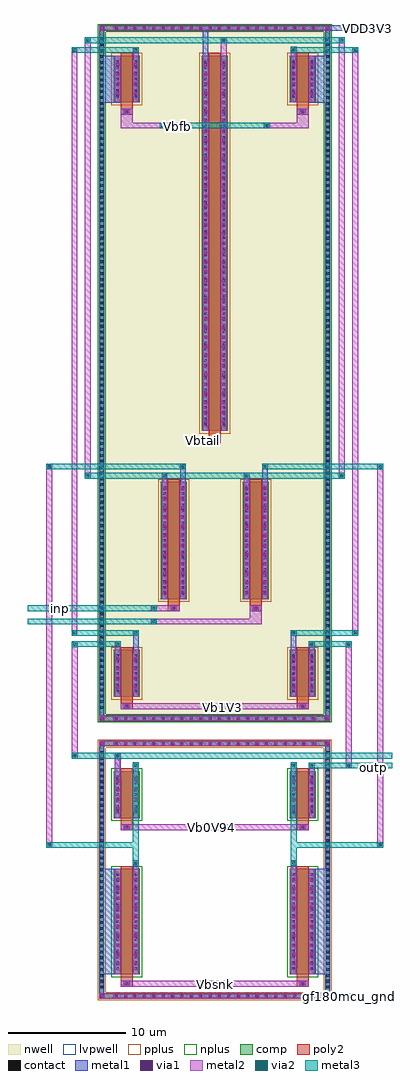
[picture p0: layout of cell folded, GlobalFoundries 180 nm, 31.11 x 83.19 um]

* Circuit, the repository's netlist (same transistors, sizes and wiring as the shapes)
** sch_path: /foss/designs/core_pga/folded_cascode/folded.sch
.subckt folded outp outn gf180mcu_gnd VDD3V3 inp inn Vb1V3 Vb0V94 Vcm Vbfb Vbsnk Vbtail
*.PININFO outp:O outn:O gf180mcu_gnd:B VDD3V3:B inp:I inn:I Vb1V3:B Vb0V94:B Vcm:B Vbfb:B Vbsnk:B Vbtail:B
M1 net3 inp net1 VDD3V3 pfet_03v3 L=1u W=10u nf=1
M2 net2 inn net1 VDD3V3 pfet_03v3 L=1u W=10u nf=1
M6 outn Vb0V94 net3 gf180mcu_gnd nfet_03v3 L=1u W=4u nf=4
M7 outp Vb0V94 net2 gf180mcu_gnd nfet_03v3 L=1u W=4u nf=4
M8 outn Vb1V3 net4 VDD3V3 pfet_03v3 L=1u W=4u nf=4
M9 outp Vb1V3 net5 VDD3V3 pfet_03v3 L=1u W=4u nf=4
M3 net1 Vbtail VDD3V3 VDD3V3 pfet_03v3 L=1u W=32u nf=1
M4 net3 Vbsnk gf180mcu_gnd gf180mcu_gnd nfet_03v3 L=1u W=9u nf=4
M5 net2 Vbsnk gf180mcu_gnd gf180mcu_gnd nfet_03v3 L=1u W=9u nf=4
M10 net4 Vbfb VDD3V3 VDD3V3 pfet_03v3 L=1u W=4u nf=4
M11 net5 Vbfb VDD3V3 VDD3V3 pfet_03v3 L=1u W=4u nf=4
.ends

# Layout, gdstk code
import gdstk
lib = gdstk.Library(unit=1e-6, precision=5e-09)
def R(c, l, rs):  # rectangles x0, y0, x1, y1
    for r in rs: c.add(gdstk.rectangle(r[:2], r[2:], *l))
def A(c, l, x, y, w, h, nx, ny, dx, dy):  # array of equal rectangles
    R(c, l, [(x+i*dx, y+j*dy, x+i*dx+w, y+j*dy+h) for i in range(nx) for j in range(ny)])
def P(c, l, *ps):  # polygons
    for p in ps: c.add(gdstk.Polygon(p, *l))
nwell = (21, 0)
comp = (22, 0)
poly2 = (30, 0)
pplus = (31, 0)
nplus = (32, 0)
contact = (33, 0)
metal1 = (34, 0)
via1 = (35, 0)
metal2 = (36, 0)
via2 = (38, 0)
metal3 = (42, 0)
lvpwell = (204, 0)

folded = lib.new_cell('folded')
R(folded, nwell, [(-9.97,-41.095,9.97,18.435), (-8.95,-40.075,-6.05,-33.245), (6.05,-40.075,8.95,-33.245), (-4.95,-31.745,-2.05,-18.915), (2.05,-31.745,4.95,-18.915), (-1.45,-17.415,1.45,17.415), (-8.95,10.585,-6.05,17.415), (6.05,10.585,8.95,17.415)])
A(folded, comp, -8.58, -64.595, 0.36, 0.36, 22, 2, 0.8, 21.52)
A(folded, comp, -9.81, -63.835, 0.36, 0.36, 1, 41, 0, 0.5)
A(folded, comp, 9.45, -63.835, 0.36, 0.36, 1, 41, 0, 0.5)
A(folded, comp, -8.58, -40.935, 0.36, 0.36, 22, 2, 0.8, 58.85)
A(folded, comp, -9.81, -40.01, 0.36, 0.36, 1, 115, 0, 0.5)
A(folded, comp, 9.45, -40.01, 0.36, 0.36, 1, 115, 0, 0.5)
R(folded, comp, [(-8.58,-64.595,8.58,-64.235), (-9.81,-63.835,-9.45,-43.475), (9.45,-63.835,9.81,-43.475), (-8.6,-62.575,-6.4,-53.575), (6.4,-62.575,8.6,-53.575), (-8.6,-49.245,-6.4,-45.245), (6.4,-49.245,8.6,-45.245), (-8.58,-43.075,8.58,-42.715), (-8.58,-40.935,8.58,-40.575), (-9.81,-40.01,-9.45,17.35), (9.45,-40.01,9.81,17.35), (-8.6,-38.915,-6.4,-34.915), (6.4,-38.915,8.6,-34.915), (-4.6,-30.585,-2.4,-20.585), (2.4,-30.585,4.6,-20.585), (-1.1,-16.255,1.1,15.745), (-8.6,11.745,-6.4,15.745), (6.4,11.745,8.6,15.745), (-8.58,17.915,8.58,18.275)])
P(folded, comp, [(-9.81,-64.595),(-9.81,-64.235),(-9.45,-64.235),(9.45,-64.235),(9.45,-43.075),(-9.45,-43.075),(-9.45,-64.235),(-9.81,-64.235),(-9.81,-42.715),(9.81,-42.715),(9.81,-64.595)],
  [(-9.81,-40.935),(-9.81,-40.575),(-9.45,-40.575),(9.45,-40.575),(9.45,17.915),(-9.45,17.915),(-9.45,-40.575),(-9.81,-40.575),(-9.81,18.275),(9.81,18.275),(9.81,-40.935)])
R(folded, poly2, [(-8,-63.615,-7,-63.115), (7,-63.615,8,-63.115), (-7.68,-63.545,-7.32,-63.185), (7.32,-63.545,7.68,-63.185), (-8,-63.115,-7,-62.815), (7,-63.115,8,-62.815), (-8,-62.815,-7,-53.335), (7,-62.815,8,-53.335), (-8,-50.285,-7,-49.785), (7,-50.285,8,-49.785), (-7.68,-50.215,-7.32,-49.855), (7.32,-50.215,7.68,-49.855), (-8,-49.785,-7,-49.485), (7,-49.785,8,-49.485), (-8,-49.485,-7,-45.005), (7,-49.485,8,-45.005), (-8,-39.955,-7,-39.455), (7,-39.955,8,-39.455), (-7.68,-39.885,-7.32,-39.525), (7.32,-39.885,7.68,-39.525), (-8,-39.455,-7,-39.155), (7,-39.455,8,-39.155), (-8,-39.155,-7,-34.675), (7,-39.155,8,-34.675), (-4,-31.625,-3,-31.125), (3,-31.625,4,-31.125), (-3.68,-31.555,-3.32,-31.195), (3.32,-31.555,3.68,-31.195), (-4,-31.125,-3,-30.825), (3,-31.125,4,-30.825), (-4,-30.825,-3,-20.345), (3,-30.825,4,-20.345), (-0.5,-17.295,0.5,-16.795), (-0.18,-17.225,0.18,-16.865), (-0.5,-16.795,0.5,-16.495), (-0.5,-16.495,0.5,15.985), (-8,10.705,-7,11.205), (7,10.705,8,11.205), (-7.68,10.775,-7.32,11.135), (7.32,10.775,7.68,11.135), (-8,11.205,-7,11.505), (7,11.205,8,11.505), (-8,11.505,-7,15.985), (7,11.505,8,15.985)])
R(folded, pplus, [(-8.83,-39.145,-6.17,-34.685), (6.17,-39.145,8.83,-34.685), (-4.83,-30.815,-2.17,-20.355), (2.17,-30.815,4.83,-20.355), (-1.33,-16.485,1.33,15.975), (-8.83,11.515,-6.17,15.975), (6.17,11.515,8.83,15.975)])
P(folded, pplus, [(-9.97,-64.755),(-9.97,-64.075),(-9.29,-64.075),(9.29,-64.075),(9.29,-43.235),(-9.29,-43.235),(-9.29,-64.075),(-9.97,-64.075),(-9.97,-42.555),(9.97,-42.555),(9.97,-64.755)])
R(folded, nplus, [(-8.83,-62.805,-6.17,-53.345), (6.17,-62.805,8.83,-53.345), (-8.83,-49.475,-6.17,-45.015), (6.17,-49.475,8.83,-45.015)])
P(folded, nplus, [(-9.97,-41.095),(-9.97,-40.415),(-9.29,-40.415),(9.29,-40.415),(9.29,17.755),(-9.29,17.755),(-9.29,-40.415),(-9.97,-40.415),(-9.97,18.435),(9.97,18.435),(9.97,-41.095)])
A(folded, contact, -8.51, -64.525, 0.22, 0.22, 22, 2, 0.8, 21.52)
A(folded, contact, -9.74, -63.765, 0.22, 0.22, 1, 41, 0, 0.5)
A(folded, contact, 9.52, -63.765, 0.22, 0.22, 1, 41, 0, 0.5)
A(folded, contact, -8.39, -62.185, 0.22, 0.22, 1, 17, 0, 0.5)
A(folded, contact, -6.83, -62.185, 0.22, 0.22, 1, 17, 0, 0.5)
A(folded, contact, 6.61, -62.185, 0.22, 0.22, 1, 17, 0, 0.5)
A(folded, contact, 8.17, -62.185, 0.22, 0.22, 1, 17, 0, 0.5)
A(folded, contact, -8.39, -48.855, 0.22, 0.22, 1, 7, 0, 0.5)
A(folded, contact, -6.83, -48.855, 0.22, 0.22, 1, 7, 0, 0.5)
A(folded, contact, 6.61, -48.855, 0.22, 0.22, 1, 7, 0, 0.5)
A(folded, contact, 8.17, -48.855, 0.22, 0.22, 1, 7, 0, 0.5)
A(folded, contact, -8.51, -40.865, 0.22, 0.22, 22, 2, 0.8, 58.85)
A(folded, contact, -9.74, -39.94, 0.22, 0.22, 1, 115, 0, 0.5)
A(folded, contact, 9.52, -39.94, 0.22, 0.22, 1, 115, 0, 0.5)
A(folded, contact, -8.39, -38.525, 0.22, 0.22, 1, 7, 0, 0.5)
A(folded, contact, -6.83, -38.525, 0.22, 0.22, 1, 7, 0, 0.5)
A(folded, contact, 6.61, -38.525, 0.22, 0.22, 1, 7, 0, 0.5)
A(folded, contact, 8.17, -38.525, 0.22, 0.22, 1, 7, 0, 0.5)
A(folded, contact, -4.39, -30.195, 0.22, 0.22, 1, 19, 0, 0.5)
A(folded, contact, -2.83, -30.195, 0.22, 0.22, 1, 19, 0, 0.5)
A(folded, contact, 2.61, -30.195, 0.22, 0.22, 1, 19, 0, 0.5)
A(folded, contact, 4.17, -30.195, 0.22, 0.22, 1, 19, 0, 0.5)
A(folded, contact, -0.89, -15.865, 0.22, 0.22, 1, 63, 0, 0.5)
A(folded, contact, 0.67, -15.865, 0.22, 0.22, 1, 63, 0, 0.5)
A(folded, contact, -8.39, 12.135, 0.22, 0.22, 1, 7, 0, 0.5)
A(folded, contact, -6.83, 12.135, 0.22, 0.22, 1, 7, 0, 0.5)
A(folded, contact, 6.61, 12.135, 0.22, 0.22, 1, 7, 0, 0.5)
A(folded, contact, 8.17, 12.135, 0.22, 0.22, 1, 7, 0, 0.5)
R(folded, contact, [(-7.61,-63.475,-7.39,-63.255), (7.39,-63.475,7.61,-63.255), (-7.61,-50.145,-7.39,-49.925), (7.39,-50.145,7.61,-49.925), (-7.61,-39.815,-7.39,-39.595), (7.39,-39.815,7.61,-39.595), (-3.61,-31.485,-3.39,-31.265), (3.39,-31.485,3.61,-31.265), (-0.11,-17.155,0.11,-16.935), (-7.61,10.845,-7.39,11.065), (7.39,10.845,7.61,11.065)])
A(folded, metal1, -8.65, -64.665, 0.5, 0.5, 22, 2, 0.8, 21.52)
A(folded, metal1, -9.86, -63.885, 0.46, 0.46, 1, 41, 0, 0.5)
A(folded, metal1, 9.4, -63.885, 0.46, 0.46, 1, 41, 0, 0.5)
A(folded, metal1, -8.51, -62.305, 0.46, 0.46, 1, 17, 0, 0.5)
A(folded, metal1, -6.95, -62.305, 0.46, 0.46, 1, 17, 0, 0.5)
A(folded, metal1, 6.49, -62.305, 0.46, 0.46, 1, 17, 0, 0.5)
A(folded, metal1, 8.05, -62.305, 0.46, 0.46, 1, 17, 0, 0.5)
A(folded, metal1, -8.53, -61.925, 0.5, 0.5, 1, 10, 0, 0.8)
A(folded, metal1, -6.97, -61.925, 0.5, 0.5, 1, 10, 0, 0.8)
A(folded, metal1, 6.47, -61.925, 0.5, 0.5, 1, 10, 0, 0.8)
A(folded, metal1, 8.03, -61.925, 0.5, 0.5, 1, 10, 0, 0.8)
A(folded, metal1, -8.51, -48.975, 0.46, 0.46, 1, 7, 0, 0.5)
A(folded, metal1, -6.95, -48.975, 0.46, 0.46, 1, 7, 0, 0.5)
A(folded, metal1, 6.49, -48.975, 0.46, 0.46, 1, 7, 0, 0.5)
A(folded, metal1, 8.05, -48.975, 0.46, 0.46, 1, 7, 0, 0.5)
A(folded, metal1, -8.53, -48.695, 0.5, 0.5, 1, 4, 0, 0.8)
A(folded, metal1, -6.97, -48.695, 0.5, 0.5, 1, 4, 0, 0.8)
A(folded, metal1, 6.47, -48.695, 0.5, 0.5, 1, 4, 0, 0.8)
A(folded, metal1, 8.03, -48.695, 0.5, 0.5, 1, 4, 0, 0.8)
A(folded, metal1, -8.65, -41.005, 0.5, 0.5, 22, 2, 0.8, 58.85)
A(folded, metal1, -9.86, -40.06, 0.46, 0.46, 1, 115, 0, 0.5)
A(folded, metal1, 9.4, -40.06, 0.46, 0.46, 1, 115, 0, 0.5)
A(folded, metal1, -8.51, -38.645, 0.46, 0.46, 1, 7, 0, 0.5)
A(folded, metal1, -6.95, -38.645, 0.46, 0.46, 1, 7, 0, 0.5)
A(folded, metal1, 6.49, -38.645, 0.46, 0.46, 1, 7, 0, 0.5)
A(folded, metal1, 8.05, -38.645, 0.46, 0.46, 1, 7, 0, 0.5)
A(folded, metal1, -8.53, -38.365, 0.5, 0.5, 1, 4, 0, 0.8)
A(folded, metal1, -6.97, -38.365, 0.5, 0.5, 1, 4, 0, 0.8)
A(folded, metal1, 6.47, -38.365, 0.5, 0.5, 1, 4, 0, 0.8)
A(folded, metal1, 8.03, -38.365, 0.5, 0.5, 1, 4, 0, 0.8)
A(folded, metal1, -4.51, -30.315, 0.46, 0.46, 1, 19, 0, 0.5)
A(folded, metal1, -2.95, -30.315, 0.46, 0.46, 1, 19, 0, 0.5)
A(folded, metal1, 2.49, -30.315, 0.46, 0.46, 1, 19, 0, 0.5)
A(folded, metal1, 4.05, -30.315, 0.46, 0.46, 1, 19, 0, 0.5)
A(folded, metal1, -4.53, -30.235, 0.5, 0.5, 1, 12, 0, 0.8)
A(folded, metal1, -2.97, -30.235, 0.5, 0.5, 1, 12, 0, 0.8)
A(folded, metal1, 2.47, -30.235, 0.5, 0.5, 1, 12, 0, 0.8)
A(folded, metal1, 4.03, -30.235, 0.5, 0.5, 1, 12, 0, 0.8)
A(folded, metal1, -1.01, -15.985, 0.46, 0.46, 1, 63, 0, 0.5)
A(folded, metal1, 0.55, -15.985, 0.46, 0.46, 1, 63, 0, 0.5)
A(folded, metal1, -1.03, -15.705, 0.5, 0.5, 1, 39, 0, 0.8)
A(folded, metal1, 0.53, -15.705, 0.5, 0.5, 1, 39, 0, 0.8)
A(folded, metal1, -8.51, 12.015, 0.46, 0.46, 1, 7, 0, 0.5)
A(folded, metal1, -6.95, 12.015, 0.46, 0.46, 1, 7, 0, 0.5)
A(folded, metal1, 6.49, 12.015, 0.46, 0.46, 1, 7, 0, 0.5)
A(folded, metal1, 8.05, 12.015, 0.46, 0.46, 1, 7, 0, 0.5)
A(folded, metal1, -8.53, 12.295, 0.5, 0.5, 1, 4, 0, 0.8)
A(folded, metal1, -6.97, 12.295, 0.5, 0.5, 1, 4, 0, 0.8)
A(folded, metal1, 6.47, 12.295, 0.5, 0.5, 1, 4, 0, 0.8)
A(folded, metal1, 8.03, 12.295, 0.5, 0.5, 1, 4, 0, 0.8)
R(folded, metal1, [(-9.86,-64.665,-9.36,-64.165), (-9.86,-64.665,-9.36,-64.165), (-9.86,-64.665,-9.4,-64.235), (-8.65,-64.665,8.65,-64.165), (7.35,-64.665,12.05,-64.165), (9.36,-64.665,9.86,-64.165), (9.36,-64.665,9.86,-64.165), (9.4,-64.665,9.86,-64.235), (-9.86,-64.235,-9.4,-43.075), (9.4,-64.235,9.86,-43.075), (-7.75,-63.615,-7.25,-63.115), (7.25,-63.615,7.75,-63.115), (-9.86,-62.575,-8.03,-53.575), (-8.51,-62.575,-8.05,-53.575), (-6.95,-62.575,-6.49,-53.575), (6.49,-62.575,6.95,-53.575), (8.03,-62.575,9.86,-53.575), (8.05,-62.575,8.51,-53.575), (-8.53,-61.925,-8.03,-54.225), (-6.97,-61.925,-6.47,-54.225), (6.47,-61.925,6.97,-54.225), (8.03,-61.925,8.53,-54.225), (-6.95,-53.575,-6.49,-52.84), (6.49,-53.575,6.95,-52.825), (-6.97,-53.34,-6.47,-52.84), (6.47,-53.325,6.97,-52.825), (-14.37,-51.79,-13.87,-51.29), (13.87,-51.79,14.37,-51.29), (-7.75,-50.285,-7.25,-49.785), (7.25,-50.285,7.75,-49.785), (-8.51,-49.245,-8.05,-45.245), (-6.95,-49.245,-6.49,-45.245), (6.49,-49.245,6.95,-45.245), (8.05,-49.245,8.51,-45.245), (-8.53,-48.695,-8.03,-45.795), (-6.97,-48.695,-6.47,-45.795), (6.47,-48.695,6.97,-45.795), (8.03,-48.695,8.53,-45.795), (-8.51,-45.245,-8.05,-43.7), (-6.95,-45.245,-6.49,-44.77), (6.49,-45.245,6.95,-44.495), (8.05,-45.245,8.51,-44.52), (8.03,-45.02,8.53,-44.52), (11.17,-45.02,11.67,-44.52), (-6.97,-44.995,-6.47,-44.495), (6.47,-44.995,6.97,-44.495), (-12.17,-44.2,-11.67,-43.7), (-8.53,-44.2,-8.03,-43.7), (-9.86,-43.145,-9.36,-42.645), (-9.86,-43.145,-9.36,-42.645), (-8.65,-43.145,8.65,-42.645), (9.36,-43.145,9.86,-42.645), (9.36,-43.145,9.86,-42.645), (-9.86,-43.075,-9.4,-42.645), (9.4,-43.075,9.86,-42.645), (-9.86,-41.005,-9.36,-40.505), (-9.86,-41.005,-9.36,-40.505), (-9.86,-41.005,-9.4,-40.575), (-8.65,-41.005,8.65,-40.505), (9.36,-41.005,9.86,-40.505), (9.36,-41.005,9.86,-40.505), (9.4,-41.005,9.86,-40.575), (-9.86,-40.575,-9.4,17.915), (9.4,-40.575,9.86,17.915), (-7.75,-39.955,-7.25,-39.455), (7.25,-39.955,7.75,-39.455), (-8.51,-38.915,-8.05,-34.915), (-6.95,-38.915,-6.49,-34.915), (6.49,-38.915,6.95,-34.915), (8.05,-38.915,8.51,-34.915), (-8.53,-38.365,-8.03,-35.465), (-6.97,-38.365,-6.47,-35.465), (6.47,-38.365,6.97,-35.465), (8.03,-38.365,8.53,-35.465), (-8.51,-34.915,-8.05,-34.165), (-6.95,-34.915,-6.49,-33.365), (6.49,-34.915,6.95,-33.22), (8.05,-34.915,8.51,-34.19), (-12.17,-34.67,-11.67,-34.17), (8.03,-34.67,8.53,-34.17), (11.17,-34.67,11.67,-34.17), (-8.53,-34.665,-8.03,-34.165), (-12.21,-33.72,-11.71,-33.22), (-6.97,-33.72,-6.47,-33.22), (6.47,-33.72,6.97,-33.22), (11.73,-33.72,12.23,-33.22), (-5.45,-32.74,-4.95,-32.24), (-3.75,-31.625,-3.25,-31.125), (3.25,-31.625,3.75,-31.125), (-5.45,-31.62,-4.95,-31.12), (-4.51,-30.585,-4.05,-20.585), (-2.95,-30.585,-2.49,-20.585), (2.49,-30.585,2.95,-20.585), (4.05,-30.585,4.51,-20.585), (-4.53,-30.235,-4.03,-20.935), (-2.97,-30.235,-2.47,-20.935), (2.47,-30.235,2.97,-20.935), (4.03,-30.235,4.53,-20.935), (-4.51,-20.585,-4.05,-19.835), (-2.95,-20.585,-2.49,-19.035), (2.49,-20.585,2.95,-19.835), (4.05,-20.585,4.51,-19.035), (-11.09,-20.335,-10.59,-19.835), (-4.53,-20.335,-4.03,-19.835), (2.47,-20.335,2.97,-19.835), (10.59,-20.335,11.09,-19.835), (-2.97,-19.535,-2.47,-19.035), (4.03,-19.535,4.53,-19.035), (-14.37,-19.53,-13.87,-19.03), (-0.25,-17.295,0.25,-16.795), (-1.01,-16.255,-0.55,15.745), (0.55,-16.255,1.01,15.745), (-1.03,-15.705,-0.53,15.195), (0.53,-15.705,1.03,15.195), (-4.68,9.53,-4.18,10.03), (4.18,9.53,4.68,10.03), (-7.75,10.705,-7.25,11.205), (7.25,10.705,7.75,11.205), (-9.86,11.74,-8.03,15.745), (8.03,11.74,9.86,15.745), (-8.51,11.745,-8.05,15.745), (-6.95,11.745,-6.49,15.745), (6.49,11.745,6.95,15.745), (8.05,11.745,8.51,15.745), (-8.53,12.295,-8.03,15.195), (-6.97,12.295,-6.47,15.195), (6.47,12.295,6.97,15.195), (8.03,12.295,8.53,15.195), (-6.95,15.745,-6.49,16.47), (-1.01,15.745,-0.55,18.345), (6.49,15.745,6.95,16.495), (-12.21,15.97,-11.71,16.47), (-6.97,15.97,-6.47,16.47), (11.73,15.97,12.23,16.47), (6.47,15.995,6.97,16.495), (-11.09,16.79,-10.59,17.29), (10.59,16.79,11.09,17.29), (0.53,16.795,1.03,17.295), (-9.86,17.845,-9.36,18.345), (-9.86,17.845,-9.36,18.345), (-8.65,17.845,8.65,18.345), (7.77,17.845,14.44,18.345), (9.36,17.845,9.86,18.345), (9.36,17.845,9.86,18.345), (-9.86,17.915,-9.4,18.345), (9.4,17.915,9.86,18.345)])
P(folded, metal1, [(8.05,15.745),(8.05,15.745),(8.51,15.745),(8.51,15.745)],
  [(-8.51,15.745),(-8.51,15.745),(-8.05,15.745),(-8.05,15.745)],
  [(-8.51,-53.575),(-8.51,-53.575),(-8.05,-53.575),(-8.05,-53.575)],
  [(8.05,-53.575),(8.05,-53.575),(8.51,-53.575),(8.51,-53.575)])
A(folded, via1, -8.53, -64.545, 0.26, 0.26, 22, 2, 0.8, 21.52)
A(folded, via1, -8.41, -61.805, 0.26, 0.26, 1, 10, 0, 0.8)
A(folded, via1, -6.85, -61.805, 0.26, 0.26, 1, 10, 0, 0.8)
A(folded, via1, 6.59, -61.805, 0.26, 0.26, 1, 10, 0, 0.8)
A(folded, via1, 8.15, -61.805, 0.26, 0.26, 1, 10, 0, 0.8)
A(folded, via1, -8.41, -48.575, 0.26, 0.26, 1, 4, 0, 0.8)
A(folded, via1, -6.85, -48.575, 0.26, 0.26, 1, 4, 0, 0.8)
A(folded, via1, 6.59, -48.575, 0.26, 0.26, 1, 4, 0, 0.8)
A(folded, via1, 8.15, -48.575, 0.26, 0.26, 1, 4, 0, 0.8)
A(folded, via1, -8.53, -40.885, 0.26, 0.26, 22, 2, 0.8, 58.85)
A(folded, via1, -8.41, -38.245, 0.26, 0.26, 1, 4, 0, 0.8)
A(folded, via1, -6.85, -38.245, 0.26, 0.26, 1, 4, 0, 0.8)
A(folded, via1, 6.59, -38.245, 0.26, 0.26, 1, 4, 0, 0.8)
A(folded, via1, 8.15, -38.245, 0.26, 0.26, 1, 4, 0, 0.8)
A(folded, via1, -4.41, -30.115, 0.26, 0.26, 1, 12, 0, 0.8)
A(folded, via1, -2.85, -30.115, 0.26, 0.26, 1, 12, 0, 0.8)
A(folded, via1, 2.59, -30.115, 0.26, 0.26, 1, 12, 0, 0.8)
A(folded, via1, 4.15, -30.115, 0.26, 0.26, 1, 12, 0, 0.8)
A(folded, via1, -0.91, -15.585, 0.26, 0.26, 1, 39, 0, 0.8)
A(folded, via1, 0.65, -15.585, 0.26, 0.26, 1, 39, 0, 0.8)
A(folded, via1, -8.41, 12.415, 0.26, 0.26, 1, 4, 0, 0.8)
A(folded, via1, -6.85, 12.415, 0.26, 0.26, 1, 4, 0, 0.8)
A(folded, via1, 6.59, 12.415, 0.26, 0.26, 1, 4, 0, 0.8)
A(folded, via1, 8.15, 12.415, 0.26, 0.26, 1, 4, 0, 0.8)
R(folded, via1, [(-9.74,-64.545,-9.48,-64.285), (9.48,-64.545,9.74,-64.285), (-7.63,-63.495,-7.37,-63.235), (7.37,-63.495,7.63,-63.235), (-6.85,-53.22,-6.59,-52.96), (6.59,-53.205,6.85,-52.945), (-14.25,-51.67,-13.99,-51.41), (13.99,-51.67,14.25,-51.41), (-7.63,-50.165,-7.37,-49.905), (7.37,-50.165,7.63,-49.905), (8.15,-44.9,8.41,-44.64), (11.29,-44.9,11.55,-44.64), (-6.85,-44.875,-6.59,-44.615), (6.59,-44.875,6.85,-44.615), (-12.05,-44.08,-11.79,-43.82), (-8.41,-44.08,-8.15,-43.82), (-9.74,-43.025,-9.48,-42.765), (9.48,-43.025,9.74,-42.765), (-9.74,-40.885,-9.48,-40.625), (9.48,-40.885,9.74,-40.625), (-7.63,-39.835,-7.37,-39.575), (7.37,-39.835,7.63,-39.575), (-12.05,-34.55,-11.79,-34.29), (8.15,-34.55,8.41,-34.29), (11.29,-34.55,11.55,-34.29), (-8.41,-34.545,-8.15,-34.285), (-12.09,-33.6,-11.83,-33.34), (-6.85,-33.6,-6.59,-33.34), (6.59,-33.6,6.85,-33.34), (11.85,-33.6,12.11,-33.34), (-5.33,-32.62,-5.07,-32.36), (-3.63,-31.505,-3.37,-31.245), (3.37,-31.505,3.63,-31.245), (-5.33,-31.5,-5.07,-31.24), (-10.97,-20.215,-10.71,-19.955), (-4.41,-20.215,-4.15,-19.955), (2.59,-20.215,2.85,-19.955), (10.71,-20.215,10.97,-19.955), (-2.85,-19.415,-2.59,-19.155), (4.15,-19.415,4.41,-19.155), (-14.25,-19.41,-13.99,-19.15), (-0.13,-17.175,0.13,-16.915), (-4.56,9.65,-4.3,9.91), (4.3,9.65,4.56,9.91), (-7.63,10.825,-7.37,11.085), (7.37,10.825,7.63,11.085), (-12.09,16.09,-11.83,16.35), (-6.85,16.09,-6.59,16.35), (11.85,16.09,12.11,16.35), (6.59,16.115,6.85,16.375), (-10.97,16.91,-10.71,17.17), (10.71,16.91,10.97,17.17), (0.65,16.915,0.91,17.175), (-9.74,17.965,-9.48,18.225), (9.48,17.965,9.74,18.225)])
A(folded, metal2, -8.65, -64.665, 0.5, 0.5, 22, 2, 0.8, 21.52)
A(folded, metal2, -8.53, -61.925, 0.5, 0.5, 1, 10, 0, 0.8)
A(folded, metal2, -6.97, -61.925, 0.5, 0.5, 1, 10, 0, 0.8)
A(folded, metal2, 6.47, -61.925, 0.5, 0.5, 1, 10, 0, 0.8)
A(folded, metal2, 8.03, -61.925, 0.5, 0.5, 1, 10, 0, 0.8)
A(folded, metal2, -8.53, -48.695, 0.5, 0.5, 1, 4, 0, 0.8)
A(folded, metal2, -6.97, -48.695, 0.5, 0.5, 1, 4, 0, 0.8)
A(folded, metal2, 6.47, -48.695, 0.5, 0.5, 1, 4, 0, 0.8)
A(folded, metal2, 8.03, -48.695, 0.5, 0.5, 1, 4, 0, 0.8)
A(folded, metal2, -8.65, -41.005, 0.5, 0.5, 22, 2, 0.8, 58.85)
A(folded, metal2, -8.53, -38.365, 0.5, 0.5, 1, 4, 0, 0.8)
A(folded, metal2, -6.97, -38.365, 0.5, 0.5, 1, 4, 0, 0.8)
A(folded, metal2, 6.47, -38.365, 0.5, 0.5, 1, 4, 0, 0.8)
A(folded, metal2, 8.03, -38.365, 0.5, 0.5, 1, 4, 0, 0.8)
A(folded, metal2, -4.53, -30.235, 0.5, 0.5, 1, 12, 0, 0.8)
A(folded, metal2, -2.97, -30.235, 0.5, 0.5, 1, 12, 0, 0.8)
A(folded, metal2, 2.47, -30.235, 0.5, 0.5, 1, 12, 0, 0.8)
A(folded, metal2, 4.03, -30.235, 0.5, 0.5, 1, 12, 0, 0.8)
A(folded, metal2, -1.03, -15.705, 0.5, 0.5, 1, 39, 0, 0.8)
A(folded, metal2, 0.53, -15.705, 0.5, 0.5, 1, 39, 0, 0.8)
A(folded, metal2, -8.53, 12.295, 0.5, 0.5, 1, 4, 0, 0.8)
A(folded, metal2, -6.97, 12.295, 0.5, 0.5, 1, 4, 0, 0.8)
A(folded, metal2, 6.47, 12.295, 0.5, 0.5, 1, 4, 0, 0.8)
A(folded, metal2, 8.03, 12.295, 0.5, 0.5, 1, 4, 0, 0.8)
R(folded, metal2, [(-9.86,-64.665,-9.36,-64.165), (-9.86,-64.665,-9.36,-64.165), (-9.86,-64.665,-9.45,-64.165), (-9.45,-64.665,9.45,-64.165), (9.36,-64.665,9.86,-64.165), (9.36,-64.665,9.86,-64.165), (9.45,-64.665,9.86,-64.165), (-8,-63.615,-7,-63.115), (-7.75,-63.615,-7.25,-63.115), (-7,-63.615,7,-63.115), (7,-63.615,8,-63.115), (7.25,-63.615,7.75,-63.115), (-8.53,-62.575,-8.03,-53.575), (-8.53,-62.575,-8.03,-53.575), (-6.97,-62.575,-6.47,-53.575), (-6.97,-62.575,-6.47,-52.84), (6.47,-62.575,6.97,-53.575), (6.47,-62.575,6.97,-52.825), (6.47,-62.575,6.97,-52.825), (8.03,-62.575,8.53,-53.575), (-6.97,-53.34,-6.47,-52.84), (6.47,-53.325,6.97,-52.825), (6.47,-53.325,6.97,-52.825), (-14.37,-51.79,-13.87,-51.29), (-14.37,-51.79,-13.87,-19.035), (13.87,-51.79,14.37,-51.29), (13.87,-51.79,14.37,-19.035), (-8,-50.285,-7,-49.785), (-7.75,-50.285,-7.25,-49.785), (-7,-50.285,7,-49.785), (7,-50.285,8,-49.785), (7.25,-50.285,7.75,-49.785), (-8.53,-49.245,-8.03,-45.245), (-8.53,-49.245,-8.03,-43.7), (-6.97,-49.245,-6.47,-45.245), (-6.97,-49.245,-6.47,-44.495), (6.47,-49.245,6.97,-45.245), (6.47,-49.245,6.97,-44.495), (8.03,-49.245,8.53,-45.245), (8.03,-49.245,8.53,-44.52), (8.03,-45.02,8.53,-44.52), (11.17,-45.02,11.67,-44.52), (11.17,-45.02,11.67,-34.165), (-6.97,-44.995,-6.47,-44.495), (6.47,-44.995,6.97,-44.495), (-12.17,-44.2,-11.67,-43.7), (-12.17,-44.2,-11.67,-34.165), (-8.53,-44.2,-8.03,-43.7), (-9.86,-43.145,-9.36,-42.645), (-9.86,-43.145,-9.36,-42.645), (-9.86,-43.145,-9.45,-42.645), (-9.45,-43.145,9.45,-42.645), (9.36,-43.145,9.86,-42.645), (9.36,-43.145,9.86,-42.645), (9.45,-43.145,9.86,-42.645), (-9.86,-41.005,-9.36,-40.505), (-9.86,-41.005,-9.36,-40.505), (-9.86,-41.005,-9.45,-40.505), (-9.45,-41.005,9.45,-40.505), (9.36,-41.005,9.86,-40.505), (9.36,-41.005,9.86,-40.505), (9.45,-41.005,9.86,-40.505), (-8,-39.955,-7,-39.455), (-7.75,-39.955,-7.25,-39.455), (-7,-39.955,7,-39.455), (7,-39.955,8,-39.455), (7.25,-39.955,7.75,-39.455), (-8.53,-38.915,-8.03,-34.915), (-8.53,-38.915,-8.03,-34.165), (-6.97,-38.915,-6.47,-34.915), (6.47,-38.915,6.97,-34.915), (8.03,-38.915,8.53,-34.915), (8.03,-38.915,8.53,-34.17), (-12.17,-34.67,-11.67,-34.17), (8.03,-34.67,8.53,-34.17), (11.17,-34.67,11.67,-34.17), (-8.53,-34.665,-8.03,-34.165), (-12.21,-33.72,-11.71,-33.22), (-12.21,-33.72,-11.71,16.47), (-6.97,-33.72,-6.47,-33.22), (6.47,-33.72,6.97,-33.22), (11.73,-33.72,12.23,-33.22), (11.73,-33.72,12.23,16.47), (-5.45,-32.74,-4.95,-32.24), (-5.45,-32.74,4,-32.24), (3,-32.74,4,-31.125), (-5.45,-31.625,-3,-31.125), (-4,-31.625,-3,-31.125), (-3.75,-31.625,-3.25,-31.125), (3,-31.625,4,-31.125), (3.25,-31.625,3.75,-31.125), (-5.45,-31.62,-4.95,-31.12), (-4.53,-30.585,-4.03,-20.585), (-4.53,-30.585,-4.03,-19.835), (-2.97,-30.585,-2.47,-20.585), (2.47,-30.585,2.97,-20.585), (2.47,-30.585,2.97,-19.835), (4.03,-30.585,4.53,-20.585), (-11.09,-20.335,-10.59,-19.835), (-11.09,-20.335,-10.59,17.29), (-4.53,-20.335,-4.03,-19.835), (2.47,-20.335,2.97,-19.835), (10.59,-20.335,11.09,-19.835), (10.59,-20.335,11.09,17.29), (-2.97,-19.535,-2.47,-19.035), (4.03,-19.535,4.53,-19.035), (13.87,-19.535,14.37,-19.035), (-14.37,-19.53,-13.87,-19.03), (-1.35,-17.295,0.5,-16.795), (-0.5,-17.295,0.5,-16.795), (-0.25,-17.295,0.25,-16.795), (-1.03,-16.255,-0.53,15.745), (0.53,-16.255,1.03,15.745), (0.53,-16.255,1.03,17.295), (-8,9.53,-4.18,10.03), (-8,9.53,-7,11.205), (-4.68,9.53,-4.18,10.03), (4.18,9.53,4.68,10.03), (4.18,9.53,8,10.03), (7,9.53,8,11.205), (-8,10.705,-7,11.205), (-7.75,10.705,-7.25,11.205), (7,10.705,8,11.205), (7.25,10.705,7.75,11.205), (-8.53,11.745,-8.03,15.745), (-6.97,11.745,-6.47,15.745), (-6.97,11.745,-6.47,16.47), (6.47,11.745,6.97,15.745), (6.47,11.745,6.97,16.495), (8.03,11.745,8.53,15.745), (-12.21,15.97,-11.71,16.47), (-6.97,15.97,-6.47,16.47), (11.73,15.97,12.23,16.47), (6.47,15.995,6.97,16.495), (-11.09,16.79,-10.59,17.29), (10.59,16.79,11.09,17.29), (0.53,16.795,1.03,17.295), (-9.86,17.845,-9.36,18.345), (-9.86,17.845,-9.36,18.345), (-9.86,17.845,-9.45,18.345), (-9.45,17.845,9.45,18.345), (9.36,17.845,9.86,18.345), (9.36,17.845,9.86,18.345), (9.45,17.845,9.86,18.345)])
R(folded, via2, [(-6.85,-53.22,-6.59,-52.96), (6.59,-53.205,6.85,-52.945), (6.59,-53.205,6.85,-52.945), (-14.25,-51.67,-13.99,-51.41), (13.99,-51.67,14.25,-51.41), (8.15,-44.9,8.41,-44.64), (11.29,-44.9,11.55,-44.64), (-6.85,-44.875,-6.59,-44.615), (6.59,-44.875,6.85,-44.615), (-12.05,-44.08,-11.79,-43.82), (-8.41,-44.08,-8.15,-43.82), (-12.05,-34.55,-11.79,-34.29), (8.15,-34.55,8.41,-34.29), (11.29,-34.55,11.55,-34.29), (-8.41,-34.545,-8.15,-34.285), (-12.09,-33.6,-11.83,-33.34), (-6.85,-33.6,-6.59,-33.34), (6.59,-33.6,6.85,-33.34), (11.85,-33.6,12.11,-33.34), (-5.33,-32.62,-5.07,-32.36), (-5.33,-31.5,-5.07,-31.24), (-10.97,-20.215,-10.71,-19.955), (-4.41,-20.215,-4.15,-19.955), (2.59,-20.215,2.85,-19.955), (10.71,-20.215,10.97,-19.955), (-2.85,-19.415,-2.59,-19.155), (4.15,-19.415,4.41,-19.155), (13.99,-19.415,14.25,-19.155), (-14.25,-19.41,-13.99,-19.15), (-4.56,9.65,-4.3,9.91), (4.3,9.65,4.56,9.91), (-12.09,16.09,-11.83,16.35), (-6.85,16.09,-6.59,16.35), (11.85,16.09,12.11,16.35), (6.59,16.115,6.85,16.375), (-10.97,16.91,-10.71,17.17), (10.71,16.91,10.97,17.17), (0.65,16.915,0.91,17.175)])
R(folded, metal3, [(-6.97,-53.34,-6.47,-52.84), (-6.97,-53.34,-6.47,-44.495), (6.47,-53.325,6.97,-52.825), (6.47,-53.325,6.97,-52.825), (6.47,-53.325,6.97,-44.495), (-14.37,-51.79,-13.87,-51.29), (-14.37,-51.79,-6.47,-51.29), (6.47,-51.79,14.37,-51.29), (13.87,-51.79,14.37,-51.29), (8.03,-45.02,8.53,-44.52), (8.03,-45.02,15.15,-44.52), (11.17,-45.02,11.67,-44.52), (-6.97,-44.995,-6.47,-44.495), (6.47,-44.995,6.97,-44.495), (-12.17,-44.2,-11.67,-43.7), (-12.17,-44.2,-8.03,-43.7), (-8.53,-44.2,-8.03,-43.7), (7.53,-44.2,11.67,-43.7), (-8.53,-44.195,15.11,-43.695), (-12.17,-34.67,-11.67,-34.17), (8.03,-34.67,8.53,-34.17), (11.17,-34.67,11.67,-34.17), (-12.17,-34.665,-8.53,-34.165), (-8.53,-34.665,-8.03,-34.165), (8.03,-34.665,11.67,-34.165), (-12.21,-33.72,-11.71,-33.22), (-12.21,-33.72,-11.71,-33.22), (-12.21,-33.72,-6.47,-33.22), (-6.97,-33.72,-6.47,-33.22), (-6.97,-33.72,-6.47,-33.22), (6.47,-33.72,6.97,-33.22), (6.49,-33.72,12.23,-33.22), (11.73,-33.72,12.23,-33.22), (11.73,-33.72,12.23,-33.22), (-15.96,-32.74,-4.95,-32.24), (-5.45,-32.74,-4.95,-32.24), (-15.96,-31.62,-4.95,-31.12), (-5.45,-31.62,-4.95,-31.12), (-11.09,-20.335,-10.59,-19.835), (-11.09,-20.335,2.47,-19.835), (-4.53,-20.335,-4.03,-19.835), (-4.53,-20.335,1.03,-19.835), (-2.47,-20.335,11.09,-19.835), (-1.03,-20.335,1.03,-19.835), (2.47,-20.335,2.97,-19.835), (10.59,-20.335,11.09,-19.835), (-14.37,-19.535,-2.47,-19.035), (-2.97,-19.535,-2.47,-19.035), (4.03,-19.535,4.53,-19.035), (4.53,-19.535,14.37,-19.035), (13.87,-19.535,14.37,-19.035), (-14.37,-19.53,-13.87,-19.03), (-4.68,9.53,-4.18,10.03), (-4.68,9.53,4.68,10.03), (4.18,9.53,4.68,10.03), (-12.21,15.97,-11.71,16.47), (-6.97,15.97,-6.47,16.47), (11.73,15.97,12.23,16.47), (-12.21,15.975,-6.47,16.47), (6.49,15.975,12.23,16.47), (6.47,15.995,6.97,16.495), (-11.09,16.79,-10.59,17.29), (10.59,16.79,11.09,17.29), (-11.09,16.795,11.04,17.295), (-11.04,16.795,11.09,17.295), (0.53,16.795,1.03,17.295)])
R(folded, lvpwell, [(-9.97,-64.755,9.97,-42.555)])
folded.add(gdstk.Label('gf180mcu_gnd', (11.5,-64.48), layer=34, texttype=10))
folded.add(gdstk.Label('VDD3V3', (13.05,18.02), layer=34, texttype=10))
folded.add(gdstk.Label('Vbsnk', (0.04,-63.47), layer=36, texttype=10))
folded.add(gdstk.Label('Vb0V94', (-0.26,-50.04), layer=36, texttype=10))
folded.add(gdstk.Label('Vb1V3', (0.7,-39.79), layer=36, texttype=10))
folded.add(gdstk.Label('Vbtail', (-1.05,-17.09), layer=36, texttype=10))
folded.add(gdstk.Label('outp', (13.52,-44.9), layer=42, texttype=10))
folded.add(gdstk.Label('outn', (13.63,-43.97), layer=42, texttype=10))
folded.add(gdstk.Label('Vbfb', (-3.17,9.72), layer=42, texttype=10))
folded.add(gdstk.Label('inp', (-13.19,-31.38), layer=42, texttype=10))
folded.add(gdstk.Label('inn', (-13.09,-32.55), layer=42, texttype=10))

lib.write_gds('folded.gds')
